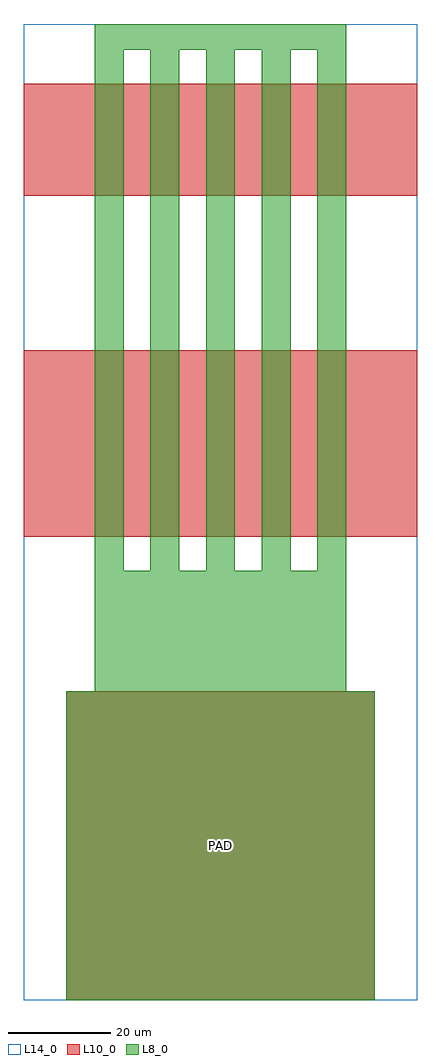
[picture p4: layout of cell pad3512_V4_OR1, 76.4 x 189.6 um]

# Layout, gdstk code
import gdstk
lib = gdstk.Library(unit=1e-6, precision=1e-09)
def R(c, l, rs):  # rectangles x0, y0, x1, y1
    for r in rs: c.add(gdstk.rectangle(r[:2], r[2:], *l))
def A(c, l, x, y, w, h, nx, ny, dx, dy):  # array of equal rectangles
    R(c, l, [(x+i*dx, y+j*dy, x+i*dx+w, y+j*dy+h) for i in range(nx) for j in range(ny)])
L8_0 = (8, 0)
L10_0 = (10, 0)
L14_0 = (14, 0)

pad60_v6_or1 = lib.new_cell('PAD60_V6_OR1')
R(pad60_v6_or1, L8_0, [(0,0,60,60)])
R(pad60_v6_or1, L10_0, [(0,0,60,60)])

pad3512_v4_or1 = lib.new_cell('pad3512_V4_OR1')
A(pad3512_v4_or1, L8_0, 5.6, 83.4, 5.6, 101.2, 5, 1, 10.8, 0)
R(pad3512_v4_or1, L8_0, [(5.6,60,54.4,83.4), (5.6,184.6,54.4,189.6)])
R(pad3512_v4_or1, L10_0, [(-8.2,90,68.2,126.2), (-8.2,156.2,68.2,178)])
R(pad3512_v4_or1, L14_0, [(-8.2,0,68.2,189.6)])
pad3512_v4_or1.add(gdstk.Reference(pad60_v6_or1, (0,0)))
pad3512_v4_or1.add(gdstk.Label('PAD', (30,30.1), layer=13, texttype=0))

lib.write_gds('pad3512_V4_OR1.gds')
